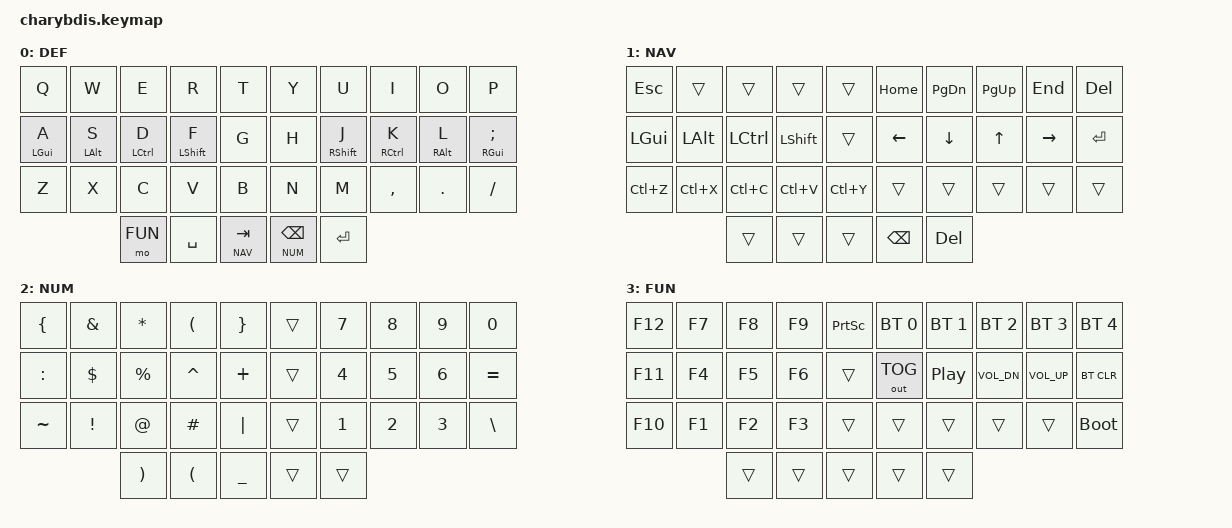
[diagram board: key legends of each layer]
#include <behaviors.dtsi>
#include <dt-bindings/zmk/bt.h>
#include <dt-bindings/zmk/keys.h>
#include <dt-bindings/zmk/outputs.h>

#define DEF 0
#define NAV 1
#define NUM 2
#define FUN 3

#define KEYS_L 0 1 2 3 4 10 11 12 13 14 20 21 22 23 24
#define KEYS_R 5 6 7 8 9 15 16 17 18 19 25 26 27 28 29
#define THUMBS 30 31 32 33 34

/*
 * Key positions (3x5 + 3 left thumb + 2 right thumb):
 * ╭──────┬──────┬──────┬──────┬──────╮  ╭──────┬──────┬──────┬──────┬──────╮
 *    00     01     02     03     04        05     06     07     08     09
 * ├──────┼──────┼──────┼──────┼──────┤  ├──────┼──────┼──────┼──────┼──────┤
 *    10     11     12     13     14        15     16     17     18     19
 * ├──────┼──────┼──────┼──────┼──────┤  ├──────┼──────┼──────┼──────┼──────┤
 *    20     21     22     23     24        25     26     27     28     29
 * ╰──────┴──────┴──────┼──────┼──────┤  ├──────┼──────┼──────┴──────┴──────╯
 *                  30     31     32        33     34
 *               ╰──────┴──────┴──────╯  ╰──────┴──────╯
 */

&lt {
    tapping-term-ms = <200>;
    flavor = "balanced";
    quick-tap-ms = <150>;
};

/ {
    behaviors {
        hml: home_row_mod_left {
            compatible = "zmk,behavior-hold-tap";
            #binding-cells = <2>;
            flavor = "balanced";
            tapping-term-ms = <280>;
            quick-tap-ms = <175>;
            require-prior-idle-ms = <150>;
            bindings = <&kp>, <&kp>;
            hold-trigger-key-positions = <KEYS_R THUMBS>;
            hold-trigger-on-release;
        };

        hmr: home_row_mod_right {
            compatible = "zmk,behavior-hold-tap";
            #binding-cells = <2>;
            flavor = "balanced";
            tapping-term-ms = <280>;
            quick-tap-ms = <175>;
            require-prior-idle-ms = <150>;
            bindings = <&kp>, <&kp>;
            hold-trigger-key-positions = <KEYS_L THUMBS>;
            hold-trigger-on-release;
        };
    };

    combos {
        compatible = "zmk,combos";

        combo_fn {
            timeout-ms = <50>;
            key-positions = <32 33>;
            bindings = <&mo FUN>;
        };
    };

    keymap {
        compatible = "zmk,keymap";

        default_layer {
            display-name = "DEF";
            bindings = <
&kp Q       &kp W       &kp E        &kp R        &kp T          &kp Y        &kp U        &kp I       &kp O       &kp P
&hml LGUI A &hml LALT S &hml LCTRL D &hml LSHFT F &kp G          &kp H        &hmr RSHFT J &hmr RCTRL K &hmr RALT L &hmr RGUI SEMI
&kp Z       &kp X       &kp C        &kp V        &kp B          &kp N        &kp M        &kp COMMA   &kp DOT     &kp FSLH
                         &mo FUN      &kp SPACE    &lt NAV TAB    &lt NUM BSPC &kp ENTER
            >;
        };

        nav_layer {
            display-name = "NAV";
            bindings = <
&kp ESC     &trans      &trans       &trans       &trans         &kp HOME     &kp PG_DN    &kp PG_UP   &kp END     &kp DEL
&kp LGUI    &kp LALT    &kp LCTRL    &kp LSHFT    &trans         &kp LEFT     &kp DOWN     &kp UP      &kp RIGHT   &kp ENTER
&kp LC(Z)   &kp LC(X)   &kp LC(C)    &kp LC(V)    &kp LC(Y)      &trans       &trans       &trans      &trans      &trans
                         &trans       &trans       &trans         &kp BSPC     &kp DEL
            >;
        };

        num_layer {
            display-name = "NUM";
            bindings = <
&kp LBRC    &kp AMPS    &kp ASTRK   &kp LPAR     &kp RBRC       &trans       &kp N7       &kp N8      &kp N9      &kp N0
&kp COLON   &kp DLLR    &kp PRCNT   &kp CARET    &kp PLUS       &trans       &kp N4       &kp N5      &kp N6      &kp EQUAL
&kp TILDE   &kp EXCL    &kp AT      &kp POUND    &kp PIPE       &trans       &kp N1       &kp N2      &kp N3      &kp BSLH
                         &kp RPAR    &kp LPAR     &kp UNDER      &trans       &trans
            >;
        };

        fun_layer {
            display-name = "FUN";
            bindings = <
&kp F12     &kp F7      &kp F8      &kp F9       &kp PSCRN      &bt BT_SEL 0 &bt BT_SEL 1 &bt BT_SEL 2 &bt BT_SEL 3 &bt BT_SEL 4
&kp F11     &kp F4      &kp F5      &kp F6       &trans         &out OUT_TOG &kp C_PP     &kp C_VOL_DN &kp C_VOL_UP &bt BT_CLR
&kp F10     &kp F1      &kp F2      &kp F3       &trans         &trans       &trans       &trans       &trans       &bootloader
                         &trans      &trans       &trans         &trans       &trans
            >;
        };
    };
};
